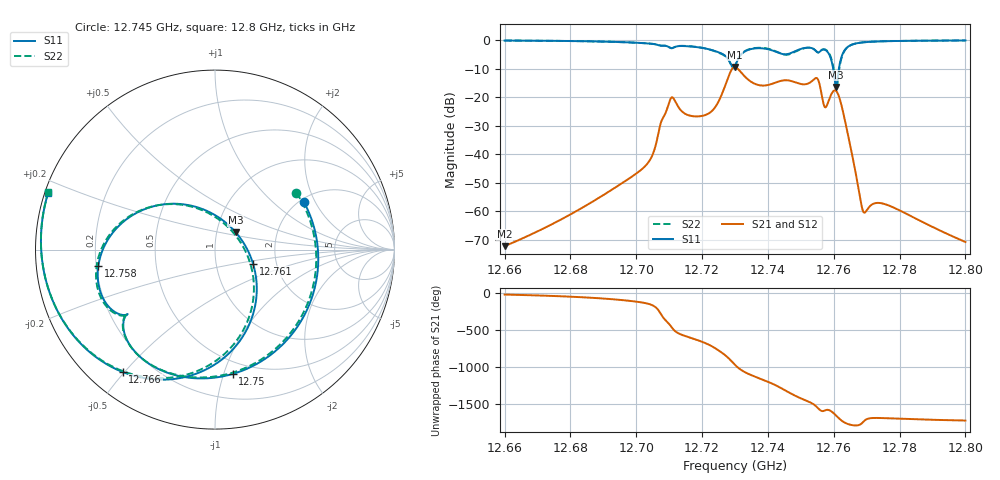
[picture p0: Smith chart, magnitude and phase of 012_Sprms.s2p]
! TOUCHSTONE file generated by CST MICROWAVE STUDIO
! Date and time: Wed Jul 31 11:11:57 2024
! Project name: WaveGuide_BPF-Ver4.1_U-shape_Ku_T3_C4_CWA_2.cst
! Parameters = {cavity_h=16; cavity_l0=10; cavity_l1=15.2331; cavity_l2=16.8315; cavity_l3=17.075; cavity_l4=17.2262; cavity_l5=17.1717; cavity_l6=17.5674; cavity_r=2.5; cavity_screw_l=0.5; cavity_screw_r=1.5; cavity_w=8; iris_h00=0; iris_h01=8.8; iris_h112=0; iris_h12=5.5911; iris_h211=3.6651; iris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
! Header version: 2018
! Port assignment regex: !\s*Touchstone port\s*([0-9]+)\s*=\s*(CST MWS port|CST DS port)\s*([0-9]+|Zmin|Zmax)\s*\(\"(.*)\"\)(\s*mode\s*([0-9]+))?.*
! Touchstone port assignment:
! Touchstone port 1 = CST MWS port 1 ("")
! Touchstone port 2 = CST MWS port 2 ("")
# GHz S RI R 50
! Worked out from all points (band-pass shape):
!   5001 points, 12.66 GHz to 12.8 GHz, reference 50 ohm
!   highest |S21| = -9.48 dB at 12.73 GHz (marker M1); lowest = -72.1 dB at 12.66 GHz (marker M2)
!   |S21| within 3 dB of the highest: 12.72812 GHz to 12.73274 GHz (4.617 MHz wide, 0.0363 % of centre)
!   lowest |S11| = -16.5 dB at 12.761 GHz (marker M3), VSWR 1.35, Z = 61.7 + j12.2 ohm
!   |S11| at or under -10 dB: 12.75982 GHz to 12.76157 GHz (1.745 MHz wide, 0.0137 % of centre)
!   |S22| runs from -17.1 to -0.2 dB; largest |S21 - S12| = 1e-09
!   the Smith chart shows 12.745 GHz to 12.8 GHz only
!   S11 on the Smith chart (normalised r, x): 12.745 GHz: 2.10, +1.63; 12.75 GHz: 0.39, -1.07; 12.758 GHz: 0.21, -0.07; 12.761 GHz: 1.51, -0.26; 12.766 GHz: 0.10, -0.49; 12.8 GHz: 0.01, +0.17
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12.66  0.362 0.91  0.000222 -0.000108  0.000222 -0.000108  0.367 0.9077
12.68335  0.7895 0.5372  0.000541 -0.001  0.000541 -0.001  0.7983 0.5227
12.70668  0.3046 -0.7564  -0.0134 0.0182  -0.0134 0.0182  0.2824 -0.7724
12.71076  -0.1035 -0.713  -0.0307 -0.0941  -0.0307 -0.0941  -0.1216 -0.7079
12.71706  -0.7496 -0.1576  -0.0101 0.0454  -0.0101 0.0454  -0.7531 -0.1697
12.72275  -0.1249 0.6608  0.0556 0.00158  0.0556 0.00158  -0.1453 0.6535
12.72616  0.5334 0.2023  -0.0107 -0.118  -0.0107 -0.118  0.526 0.1925
12.72992  0.2491 -0.2379  -0.1126 0.3164  -0.1126 0.3164  0.235 -0.2531
12.73  0.2541 -0.2432  -0.0912 0.323  -0.0912 0.323  0.2398 -0.2589
12.73375  -0.2214 -0.625  0.2058 -0.0341  0.2058 -0.0341  -0.2438 -0.6268
12.73829  -0.7148 0.028  -0.00424 -0.1596  -0.00424 -0.1596  -0.7285 0.00417
12.74526  0.4952 0.2657  -0.1023 0.1693  -0.1023 0.1693  0.4535 0.3169
12.75008  0.098 -0.693  0.1657 0.0363  0.1657 0.0363  0.1037 -0.6837
12.75335  -0.4533 -0.5604  0.1165 -0.1509  0.1165 -0.1509  -0.4565 -0.558
12.75766  -0.6502 -0.092  -0.0542 -0.0402  -0.0542 -0.0402  -0.6615 -0.1092
12.76072  0.1151 0.0966  -0.1008 0.0796  -0.1008 0.0796  0.0761 0.122
12.76122  0.2125 -0.0803  -0.0568 0.1012  -0.0568 0.1012  0.1869 -0.0491
12.76618  -0.5143 -0.6822  0.00654 0.00106  0.00654 0.00106  -0.5287 -0.671
12.76914  -0.7428 -0.5295  0.000421 0.000864  0.000421 0.000864  -0.7541 -0.5151
12.77668  -0.9347 -0.1985  -0.000324 0.00123  -0.000324 0.00123  -0.9383 -0.1854
12.79994  -0.9297 0.3159  7.83e-05 0.000283  7.83e-05 0.000283  -0.9286 0.3203
12.8  -0.9295 0.3167  7.83e-05 0.000282  7.83e-05 0.000282  -0.9284 0.321
